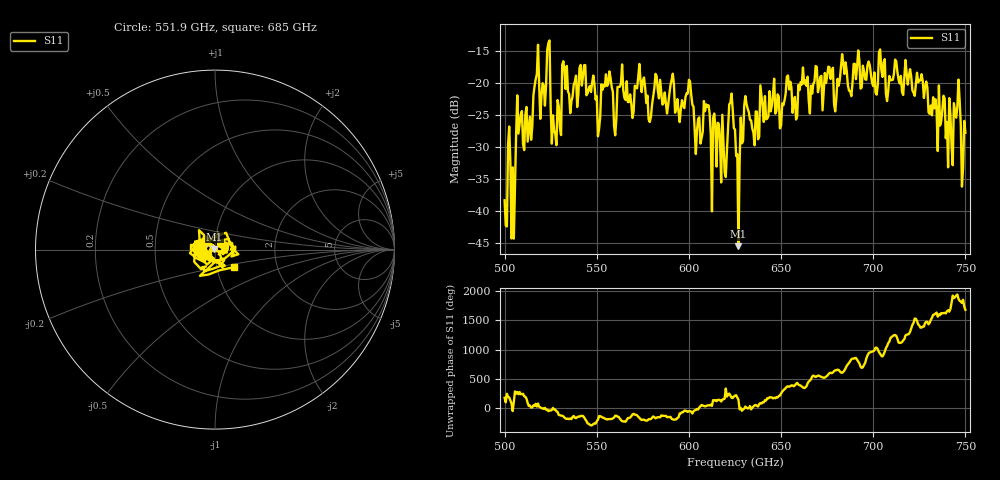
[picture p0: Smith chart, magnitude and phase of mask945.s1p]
!Created with skrf (http://scikit-rf.org).
# GHz S MA R 50.0
!freq magS11 angS11
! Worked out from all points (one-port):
!   401 points, 500 GHz to 750 GHz, reference 50 ohm
!   lowest |S11| = -45.5 dB at 626.9 GHz (marker M1), VSWR 1.01, Z = 49.6 + j0.361 ohm
!   |S11| at or under -10 dB: start of sweep to end of sweep
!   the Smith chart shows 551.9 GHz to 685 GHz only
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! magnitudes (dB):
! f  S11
! 500 GHz  -38.3
! 503.1 GHz  -32.4
! 505 GHz  -44.3
! 507.5 GHz  -27.9
! 513.8 GHz  -25.2
! 516.9 GHz  -19.4
! 520.6 GHz  -20.0
! 523.8 GHz  -13.7
! 526.9 GHz  -27.4
! 531.2 GHz  -17.1
! 542.5 GHz  -19.0
! 550.6 GHz  -28.3
! 562.5 GHz  -20.6
! 593.8 GHz  -22.5
! 600 GHz  -19.5
! 605 GHz  -25.6
! 609.4 GHz  -23.3
! 618.8 GHz  -29.5
! 622.5 GHz  -23.1
! 625 GHz  -27.2
! 626.9 GHz  -45.5
! 631.2 GHz  -23.3
! 656.2 GHz  -24.6
! 680 GHz  -22.3
! 683.8 GHz  -16.9
! 687.5 GHz  -21.3
! 718.8 GHz  -20.2
! 750 GHz  -27.8
